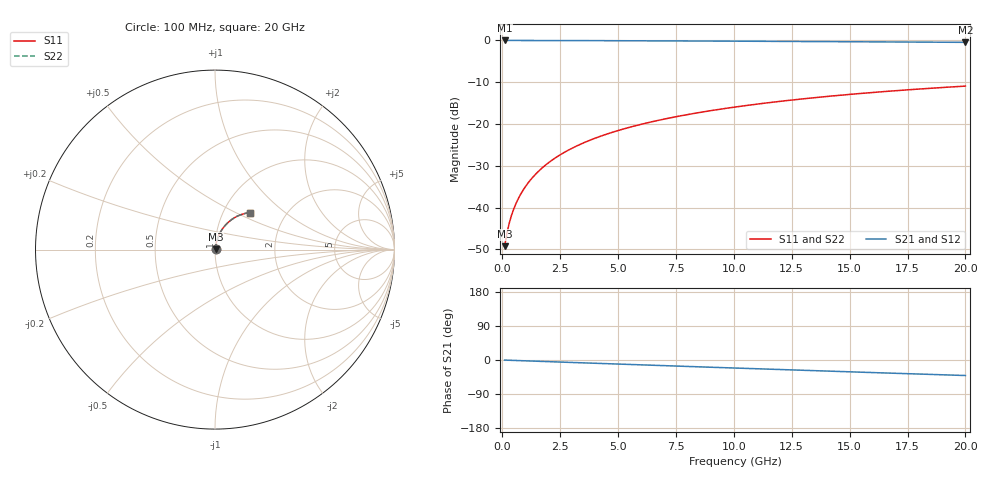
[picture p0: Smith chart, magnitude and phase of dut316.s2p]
! Touchstone file exported from HFSS 2026.1.0
!  File:  C:/ffzhzh/LocalFiles/Ansys_Project_Files/temp_train_BSMRDL_316_1783010740_46388.aedt
!  Generated:  12:46:59 AM Jul  3, 2026
!  Design:  BSMRDL
!  Project:  temp_train_BSMRDL_316_1783010740_46388
! Variables:
!  h_bsmrdl = 4um
!  h_ox = 20um
!  h_rdl = 5um
!  h_sub = 80um
!  h_tmrdl = 5um
!  h_tsv = 80um
!  h_via = 3um
!  l_bsmrdl = 655.25um
!  l_sub = 1055.25um
!  l_tmrdl = 200um
!  m_sub = 200um
!  pitch = 38.42um
!  r_tsv = 6um
!  s_tmrdl = 10um
!  w_bsmrdl = 22.27um
!  w_sub = 500um
!  w_tmrdl = 12um
!  x_tsv_center1 = 206um
!  x_tsv_center2 = 883.52um
!  x_tsv_center3 = 1095.52um
!  x_tsv_center4 = 1773.04um
!  x_tsv_center5 = 1985.04um
!  x_tsv_center6 = 2662.56um
# GHz S MA R 50.000000
! Terminal data exported
! Port[1] = BSM_RDL1_1_T1
! Port[2] = BSM_RDL1_1_T2
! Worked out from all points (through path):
!   200 points, 100 MHz to 20 GHz, reference 50 ohm
!   highest |S21| = -0.02 dB at 100 MHz (marker M1); lowest = -0.5 dB at 20 GHz (marker M2)
!   group delay of S21, straight-line fit = 5.68 ps
!   lowest |S11| = -49.2 dB at 100 MHz (marker M3), VSWR 1.01, Z = 50.3 + j0.2 ohm
!   |S11| at or under -10 dB: start of sweep to end of sweep
!   |S22| runs from -49.2 to -10.9 dB; largest |S21 - S12| = 5e-15
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0.1  0.003451 35.2  0.9972 -0.2  0.9972 -0.2  0.003451 35.2
! Gamma 0 0 0 0
! Port Impedance 50 0 50 0
0.2  0.004916 51.9  0.997 -0.5  0.997 -0.5  0.004916 51.9
0.3  0.006508 59.8  0.9968 -0.7  0.9968 -0.7  0.006508 59.8
0.4  0.008103 64.5  0.9966 -0.9  0.9966 -0.9  0.008103 64.5
0.5  0.009697 67.8  0.9965 -1.1  0.9965 -1.1  0.009698 67.8
0.6  0.0113 70.2  0.9964 -1.3  0.9964 -1.3  0.0113 70.2
0.8  0.01453 73.4  0.9962 -1.8  0.9962 -1.8  0.01453 73.4
1.1  0.01946 76.1  0.996 -2.4  0.996 -2.4  0.01946 76.1
1.3  0.02277 77.2  0.9959 -2.8  0.9959 -2.8  0.02277 77.2
1.6  0.02776 78.1  0.9956 -3.5  0.9956 -3.5  0.02776 78.1
2.1  0.0361 78.6  0.9951 -4.6  0.9951 -4.6  0.0361 78.6
2.7  0.04607 78.3  0.9943 -5.9  0.9943 -5.9  0.04607 78.3
3.5  0.05924 77.4  0.9931 -7.6  0.9931 -7.6  0.05924 77.4
4.2  0.0706 76.3  0.9919 -9.1  0.9919 -9.1  0.0706 76.3
5  0.0834 75.0  0.9903 -10.8  0.9903 -10.8  0.0834 75.0
5.9  0.09754 73.3  0.9884 -12.6  0.9884 -12.6  0.09754 73.3
6.8  0.1114 71.6  0.9863 -14.5  0.9863 -14.5  0.1114 71.6
8.3  0.1339 68.8  0.9825 -17.6  0.9825 -17.6  0.1339 68.7
10.1  0.16 65.3  0.9777 -21.3  0.9777 -21.3  0.16 65.3
13.4  0.2051 59.0  0.968 -28.0  0.968 -28.0  0.2051 59.0
16.7  0.2465 52.8  0.9574 -34.5  0.9574 -34.5  0.2465 52.8
20  0.2836 46.6  0.9465 -40.9  0.9465 -40.9  0.2837 46.6
